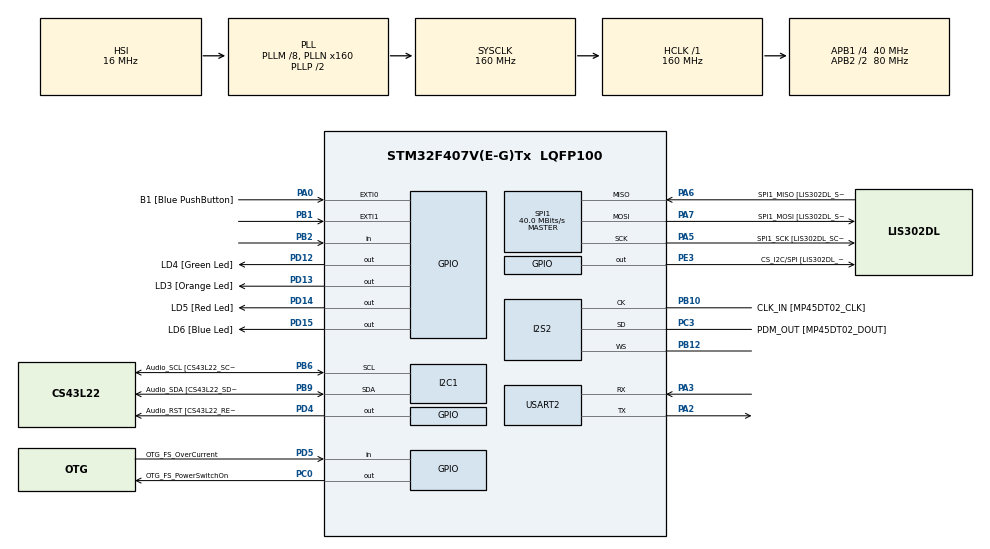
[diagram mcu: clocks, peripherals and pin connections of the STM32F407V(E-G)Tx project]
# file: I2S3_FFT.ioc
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Dma.Request0=SPI2_RX
Dma.Request1=USART2_TX
Dma.SPI2_RX.0.Direction=DMA_PERIPH_TO_MEMORY
Dma.SPI2_RX.0.FIFOMode=DMA_FIFOMODE_DISABLE
Dma.SPI2_RX.0.Instance=DMA1_Stream3
Dma.SPI2_RX.0.MemDataAlignment=DMA_MDATAALIGN_HALFWORD
Dma.SPI2_RX.0.MemInc=DMA_MINC_ENABLE
Dma.SPI2_RX.0.Mode=DMA_CIRCULAR
Dma.SPI2_RX.0.PeriphDataAlignment=DMA_PDATAALIGN_HALFWORD
Dma.SPI2_RX.0.PeriphInc=DMA_PINC_DISABLE
Dma.SPI2_RX.0.Priority=DMA_PRIORITY_LOW
Dma.USART2_TX.1.Direction=DMA_MEMORY_TO_PERIPH
Dma.USART2_TX.1.FIFOMode=DMA_FIFOMODE_DISABLE
Dma.USART2_TX.1.Instance=DMA1_Stream6
Dma.USART2_TX.1.MemDataAlignment=DMA_MDATAALIGN_BYTE
Dma.USART2_TX.1.MemInc=DMA_MINC_ENABLE
Dma.USART2_TX.1.Mode=DMA_NORMAL
Dma.USART2_TX.1.PeriphDataAlignment=DMA_PDATAALIGN_BYTE
Dma.USART2_TX.1.PeriphInc=DMA_PINC_DISABLE
Dma.USART2_TX.1.Priority=DMA_PRIORITY_MEDIUM
I2S2.AudioFreq=I2S_AUDIOFREQ_32K
I2S2.DataFormat=I2S_DATAFORMAT_16B_EXTENDED
I2S2.ErrorAudioFreq=1.72 %
I2S2.FullDuplexMode=I2S_FULLDUPLEXMODE_DISABLE
I2S2.Instance=SPI$Index
I2S2.Mode=I2S_MODE_MASTER_RX
I2S2.RealAudioFreq=32.552 KHz
I2S2.VirtualMode=I2S_MODE_MASTER
Mcu.Family=STM32F4
Mcu.Name=STM32F407V(E-G)Tx
Mcu.Package=LQFP100
NVIC.DMA1_Stream3_IRQn=true\:0\:0\:false\:false\:true\:false\:true\:true
NVIC.DMA1_Stream6_IRQn=true\:0\:0\:false\:false\:true\:false\:true\:true
NVIC.PriorityGroup=NVIC_PRIORITYGROUP_0
NVIC.USART2_IRQn=true\:0\:0\:false\:false\:true\:true\:true\:true
PA0-WKUP.GPIO_Label=B1 [Blue PushButton]
PA0-WKUP.GPIO_ModeDefaultEXTI=GPIO_MODE_EVT_RISING
PA0-WKUP.GPIO_PuPd=GPIO_NOPULL
PA0-WKUP.Signal=GPXTI0
PA10.GPIO_Label=OTG_FS_ID
PA10.GPIO_Mode=GPIO_MODE_AF_PP
PA10.GPIO_PuPd=GPIO_NOPULL
PA10.GPIO_Speed=GPIO_SPEED_FREQ_LOW
PA10.Signal=USB_OTG_FS_ID
PA11.GPIO_Label=OTG_FS_DM
PA11.GPIO_Mode=GPIO_MODE_AF_PP
PA11.GPIO_PuPd=GPIO_NOPULL
PA11.GPIO_Speed=GPIO_SPEED_FREQ_LOW
PA11.Signal=USB_OTG_FS_DM
PA12.GPIO_Label=OTG_FS_DP
PA12.GPIO_Mode=GPIO_MODE_AF_PP
PA12.GPIO_PuPd=GPIO_NOPULL
PA12.GPIO_Speed=GPIO_SPEED_FREQ_LOW
PA12.Signal=USB_OTG_FS_DP
PA13.GPIO_Label=SWDIO
PA13.Mode=Serial_Wire
PA13.Signal=SYS_JTMS-SWDIO
PA14.GPIO_Label=SWCLK
PA14.Mode=Serial_Wire
PA14.Signal=SYS_JTCK-SWCLK
PA2.Mode=Asynchronous
PA2.Signal=USART2_TX
PA3.Mode=Asynchronous
PA3.Signal=USART2_RX
PA4.GPIO_Label=I2S3_WS [CS43L22_LRCK]
PA4.GPIO_Mode=GPIO_MODE_AF_PP
PA4.GPIO_PuPd=GPIO_NOPULL
PA4.GPIO_Speed=GPIO_SPEED_FREQ_LOW
PA4.Signal=I2S3_WS
PA5.GPIO_Label=SPI1_SCK [LIS302DL_SCL/SPC]
PA5.GPIO_Mode=GPIO_MODE_AF_PP
PA5.GPIO_PuPd=GPIO_NOPULL
PA5.GPIO_Speed=GPIO_SPEED_FREQ_LOW
PA5.Mode=Full_Duplex_Master
PA5.Signal=SPI1_SCK
PA6.GPIO_Label=SPI1_MISO [LIS302DL_SDO]
PA6.GPIO_Mode=GPIO_MODE_AF_PP
PA6.GPIO_PuPd=GPIO_NOPULL
PA6.GPIO_Speed=GPIO_SPEED_FREQ_LOW
PA6.Mode=Full_Duplex_Master
PA6.Signal=SPI1_MISO
PA7.GPIO_Label=SPI1_MOSI [LIS302DL_SDA/SDI/SDO]
PA7.GPIO_Mode=GPIO_MODE_AF_PP
PA7.GPIO_PuPd=GPIO_NOPULL
PA7.GPIO_Speed=GPIO_SPEED_FREQ_LOW
PA7.Mode=Full_Duplex_Master
PA7.Signal=SPI1_MOSI
PA9.GPIO_Label=VBUS_FS
PA9.GPIO_Mode=GPIO_MODE_INPUT
PA9.GPIO_PuPd=GPIO_NOPULL
PA9.Signal=USB_OTG_FS_VBUS
PB1.GPIO_PuPd=GPIO_PULLDOWN
PB1.Signal=GPXTI1
PB10.GPIO_Label=CLK_IN [MP45DT02_CLK]
PB10.GPIO_Mode=GPIO_MODE_AF_PP
PB10.GPIO_PuPd=GPIO_NOPULL
PB10.GPIO_Speed=GPIO_SPEED_FREQ_LOW
PB10.Mode=Half_Duplex_Master
PB10.Signal=I2S2_CK
PB12.Mode=Half_Duplex_Master
PB12.Signal=I2S2_WS
PB2.Signal=GPIO_Input
PB3.GPIO_Label=SWO
PB3.Signal=SYS_JTDO-SWO
PB6.GPIO_Label=Audio_SCL [CS43L22_SCL]
PB6.GPIO_Mode=GPIO_MODE_AF_OD
PB6.GPIO_Pu=GPIO_PULLUP
PB6.GPIO_PuPd=GPIO_NOPULL
PB6.GPIO_Speed=GPIO_SPEED_FREQ_LOW
PB6.Mode=I2C
PB6.Signal=I2C1_SCL
PB9.GPIO_Label=Audio_SDA [CS43L22_SDA]
PB9.GPIO_Mode=GPIO_MODE_AF_OD
PB9.GPIO_Pu=GPIO_PULLUP
PB9.GPIO_PuPd=GPIO_NOPULL
PB9.GPIO_Speed=GPIO_SPEED_FREQ_LOW
PB9.Mode=I2C
PB9.Signal=I2C1_SDA
PC0.GPIO_Label=OTG_FS_PowerSwitchOn
PC0.GPIO_PuPd=GPIO_NOPULL
PC0.GPIO_Speed=GPIO_SPEED_FREQ_LOW
PC0.PinState=GPIO_PIN_SET
PC0.Signal=GPIO_Output
PC10.GPIO_Label=I2S3_SCK [CS43L22_SCLK]
PC10.GPIO_Mode=GPIO_MODE_AF_PP
PC10.GPIO_PuPd=GPIO_NOPULL
PC10.GPIO_Speed=GPIO_SPEED_FREQ_LOW
PC10.Signal=I2S3_CK
PC12.GPIO_Label=I2S3_SD [CS43L22_SDIN]
PC12.GPIO_Mode=GPIO_MODE_AF_PP
PC12.GPIO_PuPd=GPIO_NOPULL
PC12.GPIO_Speed=GPIO_SPEED_FREQ_LOW
PC12.Signal=I2S3_SD
PC14-OSC32_IN.GPIO_Label=PC14-OSC32_IN
PC14-OSC32_IN.Mode=LSE-External-Oscillator
PC14-OSC32_IN.Signal=RCC_OSC32_IN
PC15-OSC32_OUT.GPIO_Label=PC15-OSC32_OUT
PC15-OSC32_OUT.Mode=LSE-External-Oscillator
PC15-OSC32_OUT.Signal=RCC_OSC32_OUT
PC3.GPIO_Label=PDM_OUT [MP45DT02_DOUT]
PC3.GPIO_Mode=GPIO_MODE_AF_PP
PC3.GPIO_PuPd=GPIO_NOPULL
PC3.GPIO_Speed=GPIO_SPEED_FREQ_LOW
PC3.Mode=Half_Duplex_Master
PC3.Signal=I2S2_SD
PC7.GPIO_Label=I2S3_MCK [CS43L22_MCLK]
PC7.GPIO_Mode=GPIO_MODE_AF_PP
PC7.GPIO_PuPd=GPIO_NOPULL
PC7.GPIO_Speed=GPIO_SPEED_FREQ_LOW
PC7.Signal=I2S3_MCK
PD12.GPIO_Label=LD4 [Green Led]
PD12.GPIO_PuPd=GPIO_NOPULL
PD12.GPIO_Speed=GPIO_SPEED_FREQ_LOW
PD12.Signal=GPIO_Output
PD13.GPIO_Label=LD3 [Orange Led]
PD13.GPIO_PuPd=GPIO_NOPULL
PD13.GPIO_Speed=GPIO_SPEED_FREQ_LOW
PD13.Signal=GPIO_Output
PD14.GPIO_Label=LD5 [Red Led]
PD14.GPIO_PuPd=GPIO_NOPULL
PD14.GPIO_Speed=GPIO_SPEED_FREQ_LOW
PD14.Signal=GPIO_Output
PD15.GPIO_Label=LD6 [Blue Led]
PD15.GPIO_PuPd=GPIO_NOPULL
PD15.GPIO_Speed=GPIO_SPEED_FREQ_LOW
PD15.Signal=GPIO_Output
PD4.GPIO_Label=Audio_RST [CS43L22_RESET]
PD4.GPIO_PuPd=GPIO_NOPULL
PD4.GPIO_Speed=GPIO_SPEED_FREQ_LOW
PD4.Signal=GPIO_Output
PD5.GPIO_Label=OTG_FS_OverCurrent
PD5.GPIO_Mode=GPIO_MODE_INPUT
PD5.GPIO_PuPd=GPIO_NOPULL
PD5.Signal=GPIO_Input
PE3.GPIO_Label=CS_I2C/SPI [LIS302DL_CS_I2C/SPI]
PE3.GPIO_PuPd=GPIO_NOPULL
PE3.GPIO_Speed=GPIO_SPEED_FREQ_LOW
PE3.Signal=GPIO_Output
PH0-OSC_IN.GPIO_Label=PH0-OSC_IN
PH0-OSC_IN.Mode=HSE-External-Oscillator
PH0-OSC_IN.Signal=RCC_OSC_IN
PH1-OSC_OUT.GPIO_Label=PH1-OSC_OUT
PH1-OSC_OUT.Mode=HSE-External-Oscillator
PH1-OSC_OUT.Signal=RCC_OSC_OUT
ProjectManager.HeapSize=0x200
ProjectManager.StackSize=0x400
ProjectManager.TargetToolchain=STM32CubeIDE
RCC.48MHZClocksFreq_Value=45714285.71428572
RCC.AHBFreq_Value=160000000
RCC.APB1CLKDivider=RCC_HCLK_DIV4
RCC.APB1Freq_Value=40000000
RCC.APB1TimFreq_Value=80000000
RCC.APB2CLKDivider=RCC_HCLK_DIV2
RCC.APB2Freq_Value=80000000
RCC.APB2TimFreq_Value=160000000
RCC.CortexFreq_Value=160000000
RCC.HCLKFreq_Value=160000000
RCC.HSE_VALUE=8000000
RCC.HSI_VALUE=16000000
RCC.PLLI2SN=50
RCC.PLLM=8
RCC.PLLN=160
RCC.PLLQ=7
RCC.SYSCLKFreq_VALUE=160000000
RCC.SYSCLKSource=RCC_SYSCLKSOURCE_PLLCLK
RCC.VCOOutputFreq_Value=320000000
SPI1.BaudRatePrescaler=SPI_BAUDRATEPRESCALER_2
SPI1.BaudRatePrescaler-Full_Duplex_Master=SPI_BAUDRATEPRESCALER_2
SPI1.CalculateBaudRate=40.0 MBits/s
SPI1.CalculateBaudRate-Full_Duplex_Master=42.0 MBits/s
SPI1.Direction=SPI_DIRECTION_2LINES
SPI1.Mode=SPI_MODE_MASTER
SPI1.Mode-Full_Duplex_Master=SPI_MODE_MASTER
SPI1.VirtualType=VM_MASTER
STMicroelectronics.X-CUBE-ALGOBUILD.1.4.0.LibraryCcDSPOoLibraryJjDSPOoLibrary=true
USART2.VirtualMode=VM_ASYNC
VP_STMicroelectronics.X-CUBE-ALGOBUILD_VS_DSPOoLibraryJjLibrary_1.4.0_1.4.0.Mode=DSPOoLibraryJjLibrary
board=STM32F407G-DISC1

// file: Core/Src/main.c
/* USER CODE BEGIN Header */
/**
  ******************************************************************************
  * @file           : main.c
  * @brief          : Main program body
  ******************************************************************************
  * @attention
  *
  * Copyright (c) 2025 STMicroelectronics.
  * All rights reserved.
  *
  * This software is licensed under terms that can be found in the LICENSE file
  * in the root directory of this software component.
  * If no LICENSE file comes with this software, it is provided AS-IS.
  *
  ******************************************************************************
  */
/* USER CODE END Header */
#include "main.h"

/* USER CODE BEGIN Includes */
#include "stdio.h"
#include "arm_math.h"
//#include "fatfs.h"
/* USER CODE END Includes */

/* USER CODE BEGIN PD */
#define WAV_WRITE_SAMPLE_COUNT 256  // Adjust this value based on your needs
/* USER CODE END PD */

I2C_HandleTypeDef hi2c1;

I2S_HandleTypeDef hi2s2;
DMA_HandleTypeDef hdma_spi2_rx;

SPI_HandleTypeDef hspi1;

UART_HandleTypeDef huart2;
DMA_HandleTypeDef hdma_usart2_tx;

/* USER CODE BEGIN PV */
int16_t data_i2s[WAV_WRITE_SAMPLE_COUNT];
float32_t mic1_data1[WAV_WRITE_SAMPLE_COUNT / 4],
    mic1_data2[WAV_WRITE_SAMPLE_COUNT / 4];
float32_t data_out_fft1[WAV_WRITE_SAMPLE_COUNT / 4],
    data_out_fft2[WAV_WRITE_SAMPLE_COUNT / 4];
volatile int16_t sample_i2s;
volatile uint8_t button_flag, start_stop_recording;
volatile uint8_t half_i2s, full_i2s;
arm_rfft_fast_instance_f32 fft_audio_instance;
/* USER CODE END PV */

void SystemClock_Config(void);
static void MX_GPIO_Init(void);
static void MX_DMA_Init(void);
static void MX_I2C1_Init(void);
static void MX_SPI1_Init(void);
static void MX_I2S2_Init(void);
static void MX_USART2_UART_Init(void);

/* USER CODE BEGIN 0 */
int _write(int file, char *ptr, int len) {
    for (int i = 0; i < len; i++) {
        ITM_SendChar((*ptr++));
    }
    return len;
}
/* USER CODE END 0 */

int main(void)
{

  /* USER CODE BEGIN 1 */
  uint8_t uart_counter = 0;
  /* USER CODE END 1 */

  /* MCU Configuration--------------------------------------------------------*/

  /* Reset of all peripherals, Initializes the Flash interface and the Systick. */
  HAL_Init();

  /* Configure the system clock */
  SystemClock_Config();

  /* Initialize all configured peripherals */
  MX_GPIO_Init();
  MX_DMA_Init();
  MX_I2C1_Init();
  MX_SPI1_Init();
  MX_I2S2_Init();
  MX_USART2_UART_Init();
  /* USER CODE BEGIN 2 */
// MX_FATFS_Init();
  char msg[] = "Hello World!\r\n";
  HAL_UART_Transmit(&huart2, (uint8_t*)msg, strlen(msg), 100);

  HAL_I2S_DMAStop(&hi2s2);
  HAL_Delay(500);
  // Initializing FFT. We apply FFT for the first microphone and half of the buffer.
  // Therefore we divide by four: WAV_WRITE_SAMPLE_COUNT / 4
  arm_rfft_fast_init_f32(&fft_audio_instance, WAV_WRITE_SAMPLE_COUNT / 4);
  /* USER CODE END 2 */

  /* Infinite loop */
  /* USER CODE BEGIN WHILE */
  printf("Starting the program \n");
  button_flag = 1;
  while (1)
  {
	  if(button_flag)
	      {
	          // stop recording: stop I2S DMA
	          if(start_stop_recording)
	          {
	              HAL_I2S_DMAStop(&hi2s2);
	              start_stop_recording = 0;
	              half_i2s = 0;
	              full_i2s = 0;
	              printf("stop recording \n");
	              // Turn off all LEDs when stopping
	              HAL_GPIO_WritePin(GPIOD, LD3_Pin|LD4_Pin|LD5_Pin|LD6_Pin, GPIO_PIN_RESET);
	          }
	          // start recording: start DMA
	          else
	          {
	              start_stop_recording = 1;
	              printf("start_recording\n");
	              HAL_I2S_Receive_DMA(&hi2s2, (uint16_t *)data_i2s, sizeof(data_i2s)/2);
	          }
	          button_flag = 0;
	      }

	      // Add LED flashing during recording
	      static uint32_t led_timestamp = 0;
	      if(start_stop_recording)
	      {
	          if(HAL_GetTick() - led_timestamp > 500) // Flash every 500ms
	          {
	              HAL_GPIO_TogglePin(GPIOD, LD3_Pin|LD4_Pin|LD5_Pin|LD6_Pin);
	              led_timestamp = HAL_GetTick();
	          }
	      }

    /* USER CODE END WHILE */

    /* USER CODE BEGIN 3 */
    // When half of the buffer is full
    if(start_stop_recording == 1 && half_i2s == 1)
    {
        // extracting the data of the first microphone
        for(int i = 0; i < WAV_WRITE_SAMPLE_COUNT / 4; i++ )
        {
            mic1_data1[i] = (float32_t)data_i2s[i * 2];
        }
        // apply FFT
        arm_rfft_fast_f32(&fft_audio_instance, mic1_data1, data_out_fft1, 0);
        // extract absolute values by computing the magnitude of the complex numbers
        // Pay attention that after this operation, half of the buffer possesses the magnitudes
        arm_cmplx_mag_f32(
            data_out_fft1,
            data_out_fft1,
            WAV_WRITE_SAMPLE_COUNT / 8);
        // bias removal
        data_out_fft1[0] = 0;
        if(full_i2s == 1)
        {
            printf("d \n");
        }
        uart_counter++;
        // setting ">>>>" to indicate the end of the buffer
        data_out_fft1[WAV_WRITE_SAMPLE_COUNT / 8] = ('>'<<24|'>'<<16|'>'<<8|'>');

        if (uart_counter == 30)
        {
            printf("uart start\n");
            uart_counter = 0;
            // sending only half of the buffer
            printf("Sending FFT data, values[0-3]: %f, %f, %f, %f\n",  data_out_fft1[0], data_out_fft1[1], data_out_fft1[2], data_out_fft1[3]);
            printf("Data size: %d bytes\n", sizeof(data_out_fft1) / 2 + 4);

            // Then send the data
            HAL_UART_Transmit_DMA(&huart2, (uint8_t *)&data_out_fft1, sizeof(data_out_fft1) / 2 + 4);
            HAL_UART_Transmit_DMA(&huart2, (uint8_t *)&data_out_fft1, sizeof(data_out_fft1) / 2 + 4);

        	}
        half_i2s = 0;
    }

    // The buffer is full
    if(start_stop_recording == 1 && full_i2s == 1)
    {
        // extracting the data of the first microphone
        for(int i = 0; i < WAV_WRITE_SAMPLE_COUNT / 4; i++ )
        {
            mic1_data2[i] = (float32_t)data_i2s[i * 2 + WAV_WRITE_SAMPLE_COUNT / 2];
        }
        // applying FFT
        arm_rfft_fast_f32(&fft_audio_instance, mic1_data2, data_out_fft2, 0);
        // extract absolute values by computing the magnitude of the complex numbers
        // Pay attention that after this operation, half of the buffer possesses the magnitudes
        arm_cmplx_mag_f32(
            data_out_fft2,
            data_out_fft2,
            WAV_WRITE_SAMPLE_COUNT / 8);
        // bias removal
        data_out_fft2[0] = 0;
        if(half_i2s == 1)
        {
            printf("d \n");
        }
        full_i2s = 0;
    }
  }
  /* USER CODE END 3 */
}

void SystemClock_Config(void)
{
  RCC_OscInitTypeDef RCC_OscInitStruct = {0};
  RCC_ClkInitTypeDef RCC_ClkInitStruct = {0};

  /** Configure the main internal regulator output voltage
  */
  __HAL_RCC_PWR_CLK_ENABLE();
  __HAL_PWR_VOLTAGESCALING_CONFIG(PWR_REGULATOR_VOLTAGE_SCALE1);

  /** Initializes the RCC Oscillators according to the specified parameters
  * in the RCC_OscInitTypeDef structure.
  */
  RCC_OscInitStruct.OscillatorType = RCC_OSCILLATORTYPE_HSI;
  RCC_OscInitStruct.HSIState = RCC_HSI_ON;
  RCC_OscInitStruct.HSICalibrationValue = RCC_HSICALIBRATION_DEFAULT;
  RCC_OscInitStruct.PLL.PLLState = RCC_PLL_ON;
  RCC_OscInitStruct.PLL.PLLSource = RCC_PLLSOURCE_HSI;
  RCC_OscInitStruct.PLL.PLLM = 8;
  RCC_OscInitStruct.PLL.PLLN = 160;
  RCC_OscInitStruct.PLL.PLLP = RCC_PLLP_DIV2;
  RCC_OscInitStruct.PLL.PLLQ = 7;
  if (HAL_RCC_OscConfig(&RCC_OscInitStruct) != HAL_OK)
  {
    Error_Handler();
  }

  /** Initializes the CPU, AHB and APB buses clocks
  */
  RCC_ClkInitStruct.ClockType = RCC_CLOCKTYPE_HCLK|RCC_CLOCKTYPE_SYSCLK
                              |RCC_CLOCKTYPE_PCLK1|RCC_CLOCKTYPE_PCLK2;
  RCC_ClkInitStruct.SYSCLKSource = RCC_SYSCLKSOURCE_PLLCLK;
  RCC_ClkInitStruct.AHBCLKDivider = RCC_SYSCLK_DIV1;
  RCC_ClkInitStruct.APB1CLKDivider = RCC_HCLK_DIV4;
  RCC_ClkInitStruct.APB2CLKDivider = RCC_HCLK_DIV2;

  if (HAL_RCC_ClockConfig(&RCC_ClkInitStruct, FLASH_LATENCY_5) != HAL_OK)
  {
    Error_Handler();
  }
}

static void MX_I2C1_Init(void)
{

  hi2c1.Instance = I2C1;
  hi2c1.Init.ClockSpeed = 100000;
  hi2c1.Init.DutyCycle = I2C_DUTYCYCLE_2;
  hi2c1.Init.OwnAddress1 = 0;
  hi2c1.Init.AddressingMode = I2C_ADDRESSINGMODE_7BIT;
  hi2c1.Init.DualAddressMode = I2C_DUALADDRESS_DISABLE;
  hi2c1.Init.OwnAddress2 = 0;
  hi2c1.Init.GeneralCallMode = I2C_GENERALCALL_DISABLE;
  hi2c1.Init.NoStretchMode = I2C_NOSTRETCH_DISABLE;
  if (HAL_I2C_Init(&hi2c1) != HAL_OK)
  {
    Error_Handler();
  }

}

static void MX_I2S2_Init(void)
{

  hi2s2.Instance = SPI2;
  hi2s2.Init.Mode = I2S_MODE_MASTER_RX;
  hi2s2.Init.Standard = I2S_STANDARD_PHILIPS;
  hi2s2.Init.DataFormat = I2S_DATAFORMAT_16B_EXTENDED;
  hi2s2.Init.MCLKOutput = I2S_MCLKOUTPUT_DISABLE;
  hi2s2.Init.AudioFreq = I2S_AUDIOFREQ_32K;
  hi2s2.Init.CPOL = I2S_CPOL_LOW;
  hi2s2.Init.ClockSource = I2S_CLOCK_PLL;
  hi2s2.Init.FullDuplexMode = I2S_FULLDUPLEXMODE_DISABLE;
  if (HAL_I2S_Init(&hi2s2) != HAL_OK)
  {
    Error_Handler();
  }

}

static void MX_SPI1_Init(void)
{

  /* SPI1 parameter configuration*/
  hspi1.Instance = SPI1;
  hspi1.Init.Mode = SPI_MODE_MASTER;
  hspi1.Init.Direction = SPI_DIRECTION_2LINES;
  hspi1.Init.DataSize = SPI_DATASIZE_8BIT;
  hspi1.Init.CLKPolarity = SPI_POLARITY_LOW;
  hspi1.Init.CLKPhase = SPI_PHASE_1EDGE;
  hspi1.Init.NSS = SPI_NSS_SOFT;
  hspi1.Init.BaudRatePrescaler = SPI_BAUDRATEPRESCALER_2;
  hspi1.Init.FirstBit = SPI_FIRSTBIT_MSB;
  hspi1.Init.TIMode = SPI_TIMODE_DISABLE;
  hspi1.Init.CRCCalculation = SPI_CRCCALCULATION_DISABLE;
  hspi1.Init.CRCPolynomial = 10;
  if (HAL_SPI_Init(&hspi1) != HAL_OK)
  {
    Error_Handler();
  }

}

static void MX_USART2_UART_Init(void)
{

  huart2.Instance = USART2;
  huart2.Init.BaudRate = 115200;
  huart2.Init.WordLength = UART_WORDLENGTH_8B;
  huart2.Init.StopBits = UART_STOPBITS_1;
  huart2.Init.Parity = UART_PARITY_NONE;
  huart2.Init.Mode = UART_MODE_TX_RX;
  huart2.Init.HwFlowCtl = UART_HWCONTROL_NONE;
  huart2.Init.OverSampling = UART_OVERSAMPLING_16;
  if (HAL_UART_Init(&huart2) != HAL_OK)
  {
    Error_Handler();
  }

}

static void MX_DMA_Init(void)
{

  /* DMA controller clock enable */
  __HAL_RCC_DMA1_CLK_ENABLE();

  /* DMA interrupt init */
  /* DMA1_Stream3_IRQn interrupt configuration */
  HAL_NVIC_SetPriority(DMA1_Stream3_IRQn, 0, 0);
  HAL_NVIC_EnableIRQ(DMA1_Stream3_IRQn);
  /* DMA1_Stream6_IRQn interrupt configuration */
  HAL_NVIC_SetPriority(DMA1_Stream6_IRQn, 0, 0);
  HAL_NVIC_EnableIRQ(DMA1_Stream6_IRQn);

}

static void MX_GPIO_Init(void)
{
  GPIO_InitTypeDef GPIO_InitStruct = {0};

  /* GPIO Ports Clock Enable */
  __HAL_RCC_GPIOE_CLK_ENABLE();
  __HAL_RCC_GPIOC_CLK_ENABLE();
  __HAL_RCC_GPIOH_CLK_ENABLE();
  __HAL_RCC_GPIOA_CLK_ENABLE();
  __HAL_RCC_GPIOB_CLK_ENABLE();
  __HAL_RCC_GPIOD_CLK_ENABLE();

  /*Configure GPIO pin Output Level */
  HAL_GPIO_WritePin(CS_I2C_SPI_GPIO_Port, CS_I2C_SPI_Pin, GPIO_PIN_RESET);

  /*Configure GPIO pin Output Level */
  HAL_GPIO_WritePin(OTG_FS_PowerSwitchOn_GPIO_Port, OTG_FS_PowerSwitchOn_Pin, GPIO_PIN_SET);

  /*Configure GPIO pin Output Level */
  HAL_GPIO_WritePin(GPIOD, LD4_Pin|LD3_Pin|LD5_Pin|LD6_Pin
                          |Audio_RST_Pin, GPIO_PIN_RESET);

  /*Configure GPIO pin : CS_I2C_SPI_Pin */
  GPIO_InitStruct.Pin = CS_I2C_SPI_Pin;
  GPIO_InitStruct.Mode = GPIO_MODE_OUTPUT_PP;
  GPIO_InitStruct.Pull = GPIO_NOPULL;
  GPIO_InitStruct.Speed = GPIO_SPEED_FREQ_LOW;
  HAL_GPIO_Init(CS_I2C_SPI_GPIO_Port, &GPIO_InitStruct);

  /*Configure GPIO pin : OTG_FS_PowerSwitchOn_Pin */
  GPIO_InitStruct.Pin = OTG_FS_PowerSwitchOn_Pin;
  GPIO_InitStruct.Mode = GPIO_MODE_OUTPUT_PP;
  GPIO_InitStruct.Pull = GPIO_NOPULL;
  GPIO_InitStruct.Speed = GPIO_SPEED_FREQ_LOW;
  HAL_GPIO_Init(OTG_FS_PowerSwitchOn_GPIO_Port, &GPIO_InitStruct);

  /*Configure GPIO pin : B1_Pin */
  GPIO_InitStruct.Pin = B1_Pin;
  GPIO_InitStruct.Mode = GPIO_MODE_EVT_RISING;
  GPIO_InitStruct.Pull = GPIO_NOPULL;
  HAL_GPIO_Init(B1_GPIO_Port, &GPIO_InitStruct);

  /*Configure GPIO pin : I2S3_WS_Pin */
  GPIO_InitStruct.Pin = I2S3_WS_Pin;
  GPIO_InitStruct.Mode = GPIO_MODE_AF_PP;
  GPIO_InitStruct.Pull = GPIO_NOPULL;
  GPIO_InitStruct.Speed = GPIO_SPEED_FREQ_LOW;
  GPIO_InitStruct.Alternate = GPIO_AF6_SPI3;
  HAL_GPIO_Init(I2S3_WS_GPIO_Port, &GPIO_InitStruct);

  /*Configure GPIO pin : PB1 */
  GPIO_InitStruct.Pin = GPIO_PIN_1;
  GPIO_InitStruct.Mode = GPIO_MODE_IT_RISING;
  GPIO_InitStruct.Pull = GPIO_PULLDOWN;
  HAL_GPIO_Init(GPIOB, &GPIO_InitStruct);

  /*Configure GPIO pin : PB2 */
  GPIO_InitStruct.Pin = GPIO_PIN_2;
  GPIO_InitStruct.Mode = GPIO_MODE_INPUT;
  GPIO_InitStruct.Pull = GPIO_NOPULL;
  HAL_GPIO_Init(GPIOB, &GPIO_InitStruct);

  /*Configure GPIO pins : LD4_Pin LD3_Pin LD5_Pin LD6_Pin
                           Audio_RST_Pin */
  GPIO_InitStruct.Pin = LD4_Pin|LD3_Pin|LD5_Pin|LD6_Pin
                          |Audio_RST_Pin;
  GPIO_InitStruct.Mode = GPIO_MODE_OUTPUT_PP;
  GPIO_InitStruct.Pull = GPIO_NOPULL;
  GPIO_InitStruct.Speed = GPIO_SPEED_FREQ_LOW;
  HAL_GPIO_Init(GPIOD, &GPIO_InitStruct);

  /*Configure GPIO pins : I2S3_MCK_Pin I2S3_SCK_Pin I2S3_SD_Pin */
  GPIO_InitStruct.Pin = I2S3_MCK_Pin|I2S3_SCK_Pin|I2S3_SD_Pin;
  GPIO_InitStruct.Mode = GPIO_MODE_AF_PP;
  GPIO_InitStruct.Pull = GPIO_NOPULL;
  GPIO_InitStruct.Speed = GPIO_SPEED_FREQ_LOW;
  GPIO_InitStruct.Alternate = GPIO_AF6_SPI3;
  HAL_GPIO_Init(GPIOC, &GPIO_InitStruct);

  /*Configure GPIO pin : VBUS_FS_Pin */
  GPIO_InitStruct.Pin = VBUS_FS_Pin;
  GPIO_InitStruct.Mode = GPIO_MODE_INPUT;
  GPIO_InitStruct.Pull = GPIO_NOPULL;
  HAL_GPIO_Init(VBUS_FS_GPIO_Port, &GPIO_InitStruct);

  /*Configure GPIO pins : OTG_FS_ID_Pin OTG_FS_DM_Pin OTG_FS_DP_Pin */
  GPIO_InitStruct.Pin = OTG_FS_ID_Pin|OTG_FS_DM_Pin|OTG_FS_DP_Pin;
  GPIO_InitStruct.Mode = GPIO_MODE_AF_PP;
  GPIO_InitStruct.Pull = GPIO_NOPULL;
  GPIO_InitStruct.Speed = GPIO_SPEED_FREQ_LOW;
  GPIO_InitStruct.Alternate = GPIO_AF10_OTG_FS;
  HAL_GPIO_Init(GPIOA, &GPIO_InitStruct);

  /*Configure GPIO pin : OTG_FS_OverCurrent_Pin */
  GPIO_InitStruct.Pin = OTG_FS_OverCurrent_Pin;
  GPIO_InitStruct.Mode = GPIO_MODE_INPUT;
  GPIO_InitStruct.Pull = GPIO_NOPULL;
  HAL_GPIO_Init(OTG_FS_OverCurrent_GPIO_Port, &GPIO_InitStruct);

}

/* USER CODE BEGIN 4 */
/* USER CODE BEGIN 4 */
void HAL_I2S_RxCpltCallback(I2S_HandleTypeDef *hi2s)
{
    full_i2s = 1;
}
void HAL_I2S_RxHalfCpltCallback(I2S_HandleTypeDef *hi2s)
{
    half_i2s = 1;
}

void HAL_GPIO_EXTI_Callback(uint16_t GPIO_Pin)
{
    if(GPIO_Pin == GPIO_PIN_1)
    {
        button_flag = 1;
    }
}

void HAL_UART_TxCpltCallback(UART_HandleTypeDef *huart)
{
    printf("uart over \n");
}
/* USER CODE END 4 */

void Error_Handler(void)
{
  __disable_irq();
  while (1)
  {
  }
}
